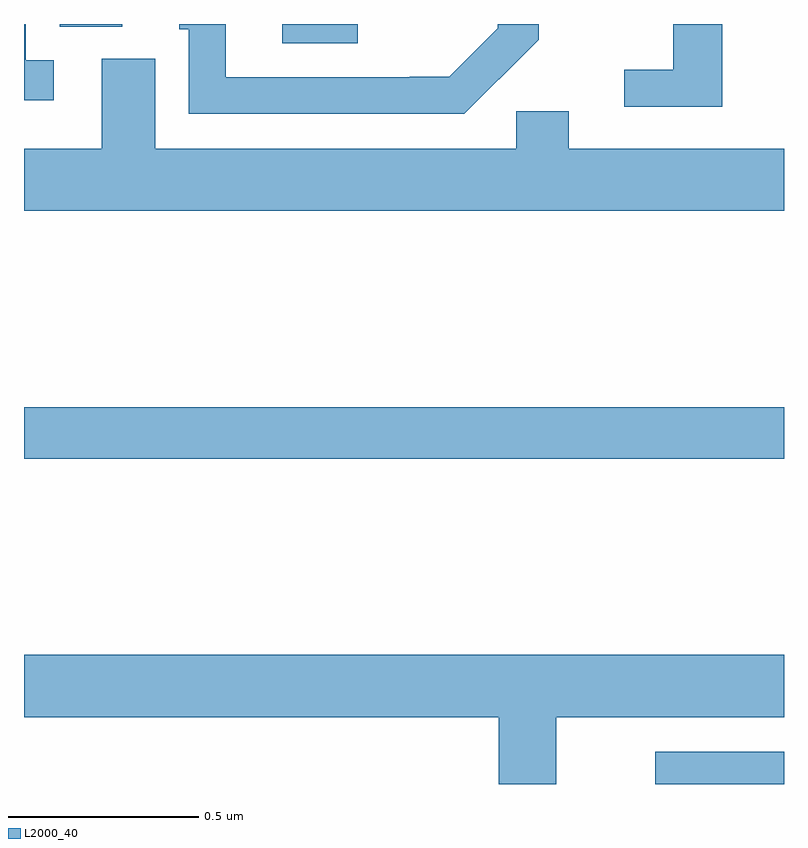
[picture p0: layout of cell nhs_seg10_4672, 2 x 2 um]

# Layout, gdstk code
import gdstk
lib = gdstk.Library(unit=1e-6, precision=1e-09)
def R(c, l, rs):  # rectangles x0, y0, x1, y1
    for r in rs: c.add(gdstk.rectangle(r[:2], r[2:], *l))
def P(c, l, *ps):  # polygons
    for p in ps: c.add(gdstk.Polygon(p, *l))
L2000_40 = (2000, 40)

nhs_seg10_4672 = lib.new_cell('nhs_seg10_4672')
R(nhs_seg10_4672, L2000_40, [(170.661,1273.5,171,1273.585), (169,1274.356,171,1274.492), (169.68,1275.45,169.878,1275.5), (169.094,1275.493,169.258,1275.5)])
P(nhs_seg10_4672, L2000_40, [(169.078,1275.405),(169.005,1275.405),(169.005,1275.5),(169,1275.5),(169,1275.3),(169.078,1275.3)],
  [(170.837,1275.5),(170.709,1275.5),(170.709,1275.379),(170.58,1275.379),(170.58,1275.282),(170.837,1275.282)],
  [(170.249,1275.355),(170.25,1275.354),(170.355,1275.459),(170.355,1275.5),(170.247,1275.5),(170.247,1275.489),(170.119,1275.361),(170.015,1275.361),(170.015,1275.36),(169.531,1275.36),(169.531,1275.5),(169.409,1275.5),(169.409,1275.486),(169.434,1275.486),(169.434,1275.264),(170.158,1275.264)],
  [(171,1275.172),(170.434,1275.172),(170.434,1275.27),(170.295,1275.27),(170.295,1275.172),(169.345,1275.172),(169.345,1275.408),(169.205,1275.408),(169.205,1275.172),(169,1275.172),(169,1275.008),(171,1275.008)],
  [(170.401,1273.676),(171,1273.676),(171,1273.84),(169,1273.84),(169,1273.676),(170.249,1273.676),(170.249,1273.5),(170.401,1273.5)])

lib.write_gds('nhs_seg10_4672.gds')
